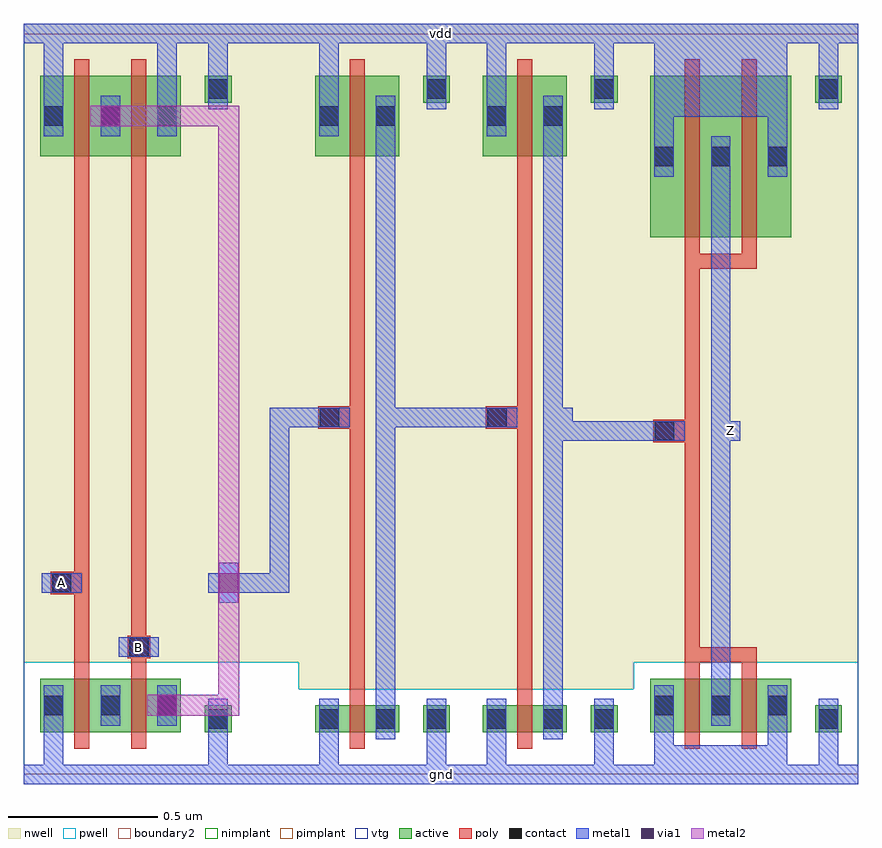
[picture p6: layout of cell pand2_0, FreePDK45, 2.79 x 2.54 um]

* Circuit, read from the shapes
.subckt pand2_0 A B Z gnd vdd
M1 pnand2_1_0/nmos_m1_w0_180_a_p_2/D A gnd gnd nfet w=0.18u l=0.05u
M2 pdriver_1_1/A B pnand2_1_0/nmos_m1_w0_180_a_p_2/D gnd nfet w=0.18u l=0.05u
M3 pdriver_1_1/pinv_5_1/A pdriver_1_1/A gnd gnd nfet w=0.09u l=0.05u
M4 pdriver_1_1/pinv_7_2/A pdriver_1_1/pinv_5_1/A gnd gnd nfet w=0.09u l=0.05u
M5 Z pdriver_1_1/pinv_7_2/A gnd gnd nfet w=0.18u l=0.05u m=2
M6 pdriver_1_1/A A vdd vdd pfet w=0.27u l=0.05u
M7 vdd B pdriver_1_1/A vdd pfet w=0.27u l=0.05u
M8 pdriver_1_1/pinv_5_1/A pdriver_1_1/A vdd vdd pfet w=0.27u l=0.05u
M9 pdriver_1_1/pinv_7_2/A pdriver_1_1/pinv_5_1/A vdd vdd pfet w=0.27u l=0.05u
M10 Z pdriver_1_1/pinv_7_2/A vdd vdd pfet w=0.54u l=0.05u m=2
.ends

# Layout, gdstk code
import gdstk
lib = gdstk.Library(unit=1e-6, precision=5e-10)
def R(c, l, rs):  # rectangles x0, y0, x1, y1
    for r in rs: c.add(gdstk.rectangle(r[:2], r[2:], *l))
active = (1, 0)
pwell = (2, 0)
nwell = (3, 0)
nimplant = (4, 0)
pimplant = (5, 0)
vtg = (6, 0)
poly = (9, 0)
contact = (10, 0)
metal1 = (11, 0)
via1 = (12, 0)
metal2 = (13, 0)
boundary2 = (239, 0)

contact_9 = lib.new_cell('contact_9')
R(contact_9, active, [(0,0.0225,0.09,0.1125)])
R(contact_9, nwell, [(-0.055,-0.0325,0.145,0.1675)])
R(contact_9, pimplant, [(0,0.0225,0.09,0.1125)])
R(contact_9, contact, [(0.0125,0.035,0.0775,0.1)])
R(contact_9, metal1, [(0.0125,0,0.0775,0.135)])

pmos_m1_w0_270_a_p = lib.new_cell('pmos_m1_w0_270_a_p')
R(pmos_m1_w0_270_a_p, active, [(0,0,0.28,0.27)])
R(pmos_m1_w0_270_a_p, nwell, [(-0.055,-0.055,0.335,0.325)])
R(pmos_m1_w0_270_a_p, pimplant, [(0,0,0.28,0.27)])
R(pmos_m1_w0_270_a_p, vtg, [(-0.055,-0.055,0.335,0.325)])
R(pmos_m1_w0_270_a_p, poly, [(0.115,-0.055,0.165,0.325), (0.115,-0.055,0.165,0.325)])
R(pmos_m1_w0_270_a_p, metal1, [(0.0125,0.0675,0.0775,0.2025), (0.2025,0.0675,0.2675,0.2025)])
pmos_m1_w0_270_a_p.add(gdstk.Reference(contact_9, (0,0.0675)))
pmos_m1_w0_270_a_p.add(gdstk.Reference(contact_9, (0.19,0.0675)))
pmos_m1_w0_270_a_p.add(gdstk.Label('G', (0.14,0.135), layer=9, texttype=0))
pmos_m1_w0_270_a_p.add(gdstk.Label('S', (0.045,0.135), layer=11, texttype=0))
pmos_m1_w0_270_a_p.add(gdstk.Label('D', (0.235,0.135), layer=11, texttype=0))

contact_14 = lib.new_cell('contact_14')
R(contact_14, active, [(0,0.0225,0.09,0.1125)])
R(contact_14, pwell, [(-0.055,-0.0325,0.145,0.1675)])
R(contact_14, nimplant, [(0,0.0225,0.09,0.1125)])
R(contact_14, contact, [(0.0125,0.035,0.0775,0.1)])
R(contact_14, metal1, [(0.0125,0,0.0775,0.135)])

nmos_m1_w0_180_a_p = lib.new_cell('nmos_m1_w0_180_a_p')
R(nmos_m1_w0_180_a_p, active, [(0,0,0.28,0.18)])
R(nmos_m1_w0_180_a_p, pwell, [(-0.055,-0.055,0.335,0.235)])
R(nmos_m1_w0_180_a_p, nimplant, [(0,0,0.28,0.18)])
R(nmos_m1_w0_180_a_p, vtg, [(-0.055,-0.055,0.335,0.235)])
R(nmos_m1_w0_180_a_p, poly, [(0.115,-0.055,0.165,0.235), (0.115,-0.055,0.165,0.235)])
R(nmos_m1_w0_180_a_p, metal1, [(0.0125,0.0225,0.0775,0.1575), (0.2025,0.0225,0.2675,0.1575)])
nmos_m1_w0_180_a_p.add(gdstk.Reference(contact_14, (0,0.0225)))
nmos_m1_w0_180_a_p.add(gdstk.Reference(contact_14, (0.19,0.0225)))
nmos_m1_w0_180_a_p.add(gdstk.Label('G', (0.14,0.09), layer=9, texttype=0))
nmos_m1_w0_180_a_p.add(gdstk.Label('S', (0.045,0.09), layer=11, texttype=0))
nmos_m1_w0_180_a_p.add(gdstk.Label('D', (0.235,0.09), layer=11, texttype=0))

contact_18 = lib.new_cell('contact_18')
R(contact_18, active, [(0,0.0225,0.09,0.1125)])
R(contact_18, nwell, [(-0.055,-0.0325,0.145,0.1675)])
R(contact_18, nimplant, [(0,0.0225,0.09,0.1125)])
R(contact_18, contact, [(0.0125,0.035,0.0775,0.1)])
R(contact_18, metal1, [(0.0125,0,0.0775,0.135)])

contact_19 = lib.new_cell('contact_19')
R(contact_19, active, [(0,0.0225,0.09,0.1125)])
R(contact_19, pwell, [(-0.055,-0.0325,0.145,0.1675)])
R(contact_19, pimplant, [(0,0.0225,0.09,0.1125)])
R(contact_19, contact, [(0.0125,0.035,0.0775,0.1)])
R(contact_19, metal1, [(0.0125,0,0.0775,0.135)])

contact_10 = lib.new_cell('contact_10')
R(contact_10, poly, [(0.03,0,0.105,0.075)])
R(contact_10, contact, [(0.035,0.005,0.1,0.07)])
R(contact_10, metal1, [(0,0.005,0.135,0.07)])

contact_20 = lib.new_cell('contact_20')
R(contact_20, metal1, [(0.035,0,0.1,0.135)])
R(contact_20, via1, [(0.035,0.035,0.1,0.1)])
R(contact_20, metal2, [(0,0.0325,0.135,0.1025)])

contact_16 = lib.new_cell('contact_16')
R(contact_16, metal1, [(0,0.035,0.135,0.1)])
R(contact_16, via1, [(0.035,0.035,0.1,0.1)])
R(contact_16, metal2, [(0.0325,0,0.1025,0.135)])

pnand2_1 = lib.new_cell('pnand2_1')
R(pnand2_1, pwell, [(0,-0.0325,0.92,0.375)])
R(pnand2_1, nwell, [(0,0.375,0.92,2.5075)])
R(pnand2_1, vtg, [(0,-0.0325,0.92,0.375), (0,0.375,0.92,2.5075)])
R(pnand2_1, poly, [(0.17,0.085,0.22,2.01), (0.36,0.085,0.41,2.01), (0.36,0.3875,0.385,0.4625), (0.1275,0.6025,0.17,0.6775)])
R(pnand2_1, metal1, [(0,-0.0325,0.92,0.0325), (0.0675,-0.0325,0.1325,0.1625), (0.6175,0,0.6825,0.185), (0.3175,0.3925,0.4525,0.4575), (0.6525,0.5725,0.7175,0.7075), (0.06,0.6075,0.195,0.6725), (0.0675,2.1325,0.1325,2.5075), (0.4475,2.1325,0.5125,2.5075), (0.6175,2.29,0.6825,2.475), (0,2.4425,0.92,2.5075)])
R(pnand2_1, metal2, [(0.48,0.195,0.685,0.265), (0.65,0.195,0.72,0.265), (0.65,0.23,0.72,0.64), (0.65,0.64,0.72,2.2), (0.29,2.165,0.685,2.235), (0.65,2.165,0.72,2.235)])
R(pnand2_1, boundary2, [(0,0,0.92,2.475)])
pnand2_1.add(gdstk.Reference(pmos_m1_w0_270_a_p, (0.055,2.065)))
pnand2_1.add(gdstk.Reference(pmos_m1_w0_270_a_p, (0.245,2.065)))
pnand2_1.add(gdstk.Reference(nmos_m1_w0_180_a_p, (0.055,0.14)))
pnand2_1.add(gdstk.Reference(nmos_m1_w0_180_a_p, (0.245,0.14)))
pnand2_1.add(gdstk.Reference(contact_18, (0.605,2.2225)))
pnand2_1.add(gdstk.Reference(contact_19, (0.605,0.1175)))
pnand2_1.add(gdstk.Reference(contact_10, (0.3175,0.3875)))
pnand2_1.add(gdstk.Reference(contact_10, (0.06,0.6025)))
pnand2_1.add(gdstk.Reference(contact_20, (0.2225,2.1325)))
pnand2_1.add(gdstk.Reference(contact_20, (0.4125,0.1625)))
pnand2_1.add(gdstk.Reference(contact_16, (0.6175,0.5725)))
pnand2_1.add(gdstk.Label('gnd', (0.46,0), layer=11, texttype=0))
pnand2_1.add(gdstk.Label('vdd', (0.46,2.475), layer=11, texttype=0))
pnand2_1.add(gdstk.Label('B', (0.385,0.425), layer=11, texttype=0))
pnand2_1.add(gdstk.Label('A', (0.1275,0.64), layer=11, texttype=0))
pnand2_1.add(gdstk.Label('Z', (0.685,0.64), layer=11, texttype=0))

nmos_m1_w0_090_a_p = lib.new_cell('nmos_m1_w0_090_a_p')
R(nmos_m1_w0_090_a_p, active, [(0,0,0.28,0.09)])
R(nmos_m1_w0_090_a_p, pwell, [(-0.055,-0.055,0.335,0.145)])
R(nmos_m1_w0_090_a_p, nimplant, [(0,0,0.28,0.09)])
R(nmos_m1_w0_090_a_p, vtg, [(-0.055,-0.055,0.335,0.145)])
R(nmos_m1_w0_090_a_p, poly, [(0.115,-0.055,0.165,0.145), (0.115,-0.055,0.165,0.145)])
R(nmos_m1_w0_090_a_p, metal1, [(0.0125,-0.0225,0.0775,0.1125), (0.2025,-0.0225,0.2675,0.1125)])
nmos_m1_w0_090_a_p.add(gdstk.Reference(contact_14, (0,-0.0225)))
nmos_m1_w0_090_a_p.add(gdstk.Reference(contact_14, (0.19,-0.0225)))
nmos_m1_w0_090_a_p.add(gdstk.Label('G', (0.14,0.045), layer=9, texttype=0))
nmos_m1_w0_090_a_p.add(gdstk.Label('S', (0.045,0.045), layer=11, texttype=0))
nmos_m1_w0_090_a_p.add(gdstk.Label('D', (0.235,0.045), layer=11, texttype=0))

pinv_5 = lib.new_cell('pinv_5')
R(pinv_5, pwell, [(0,-0.0325,0.56,0.285)])
R(pinv_5, nwell, [(0,0.285,0.56,2.5075)])
R(pinv_5, vtg, [(0,-0.0325,0.56,0.285), (0,0.285,0.56,2.5075)])
R(pinv_5, poly, [(0.17,0.085,0.22,2.01), (0.1025,1.155,0.17,1.23)])
R(pinv_5, metal1, [(0,-0.0325,0.56,0.0325), (0.0675,-0.0325,0.1325,0.1175), (0.4275,0,0.4925,0.185), (0.2575,0.1175,0.3225,2.2675), (0.035,1.16,0.17,1.225), (0.29,1.16,0.355,1.225), (0.0675,2.1325,0.1325,2.5075), (0.4275,2.29,0.4925,2.475), (0,2.4425,0.56,2.5075)])
R(pinv_5, boundary2, [(0,0,0.56,2.475)])
pinv_5.add(gdstk.Reference(pmos_m1_w0_270_a_p, (0.055,2.065)))
pinv_5.add(gdstk.Reference(nmos_m1_w0_090_a_p, (0.055,0.14)))
pinv_5.add(gdstk.Reference(contact_18, (0.415,2.2225)))
pinv_5.add(gdstk.Reference(contact_19, (0.415,0.1175)))
pinv_5.add(gdstk.Reference(contact_10, (0.035,1.155)))
pinv_5.add(gdstk.Label('gnd', (0.28,0), layer=11, texttype=0))
pinv_5.add(gdstk.Label('vdd', (0.28,2.475), layer=11, texttype=0))
pinv_5.add(gdstk.Label('A', (0.1025,1.1925), layer=11, texttype=0))
pinv_5.add(gdstk.Label('Z', (0.3225,1.1925), layer=11, texttype=0))

pmos_m2_w0_540_a_p = lib.new_cell('pmos_m2_w0_540_a_p')
R(pmos_m2_w0_540_a_p, active, [(0,0,0.47,0.54)])
R(pmos_m2_w0_540_a_p, nwell, [(-0.055,-0.055,0.525,0.595)])
R(pmos_m2_w0_540_a_p, pimplant, [(0,0,0.47,0.54)])
R(pmos_m2_w0_540_a_p, vtg, [(-0.055,-0.055,0.525,0.595)])
R(pmos_m2_w0_540_a_p, poly, [(0.115,-0.105,0.355,-0.055), (0.115,-0.055,0.165,0.595), (0.305,-0.055,0.355,0.595)])
R(pmos_m2_w0_540_a_p, metal1, [(0.2025,0.2025,0.2675,0.3375), (0.0125,0.27,0.0775,0.435), (0.3925,0.27,0.4575,0.435), (0.0125,0.4025,0.4575,0.4675)])
pmos_m2_w0_540_a_p.add(gdstk.Reference(contact_9, (0,0.2025)))
pmos_m2_w0_540_a_p.add(gdstk.Reference(contact_9, (0.38,0.2025)))
pmos_m2_w0_540_a_p.add(gdstk.Reference(contact_9, (0.19,0.2025)))
pmos_m2_w0_540_a_p.add(gdstk.Label('G', (0.235,-0.08), layer=9, texttype=0))
pmos_m2_w0_540_a_p.add(gdstk.Label('S', (0.235,0.435), layer=11, texttype=0))
pmos_m2_w0_540_a_p.add(gdstk.Label('D', (0.235,0.27), layer=11, texttype=0))

nmos_m2_w0_180_a_p = lib.new_cell('nmos_m2_w0_180_a_p')
R(nmos_m2_w0_180_a_p, active, [(0,0,0.47,0.18)])
R(nmos_m2_w0_180_a_p, pwell, [(-0.055,-0.055,0.525,0.235)])
R(nmos_m2_w0_180_a_p, nimplant, [(0,0,0.47,0.18)])
R(nmos_m2_w0_180_a_p, vtg, [(-0.055,-0.055,0.525,0.235)])
R(nmos_m2_w0_180_a_p, poly, [(0.115,-0.055,0.165,0.235), (0.305,-0.055,0.355,0.235), (0.115,0.235,0.355,0.285)])
R(nmos_m2_w0_180_a_p, metal1, [(0.0125,-0.1075,0.4575,-0.0425), (0.0125,-0.075,0.0775,0.09), (0.3925,-0.075,0.4575,0.09), (0.2025,0.0225,0.2675,0.1575)])
nmos_m2_w0_180_a_p.add(gdstk.Reference(contact_14, (0,0.0225)))
nmos_m2_w0_180_a_p.add(gdstk.Reference(contact_14, (0.38,0.0225)))
nmos_m2_w0_180_a_p.add(gdstk.Reference(contact_14, (0.19,0.0225)))
nmos_m2_w0_180_a_p.add(gdstk.Label('G', (0.235,0.26), layer=9, texttype=0))
nmos_m2_w0_180_a_p.add(gdstk.Label('S', (0.235,-0.075), layer=11, texttype=0))
nmos_m2_w0_180_a_p.add(gdstk.Label('D', (0.235,0.09), layer=11, texttype=0))

pinv_7 = lib.new_cell('pinv_7')
R(pinv_7, pwell, [(0,-0.0325,0.75,0.375)])
R(pinv_7, nwell, [(0,0.375,0.75,2.5075)])
R(pinv_7, vtg, [(0,-0.0325,0.75,0.375), (0,0.375,0.75,2.5075)])
R(pinv_7, poly, [(0.17,0.375,0.22,1.69), (0.1025,1.11,0.17,1.185)])
R(pinv_7, metal1, [(0,-0.0325,0.75,0.0325), (0.0675,-0.0325,0.5125,0.0325), (0.6175,0,0.6825,0.185), (0.2575,0.1625,0.3225,2.1325), (0.035,1.115,0.17,1.18), (0.29,1.115,0.355,1.18), (0.0675,2.1975,0.5125,2.5075), (0.6175,2.29,0.6825,2.475), (0,2.4425,0.75,2.5075)])
R(pinv_7, boundary2, [(0,0,0.75,2.475)])
pinv_7.add(gdstk.Reference(pmos_m2_w0_540_a_p, (0.055,1.795)))
pinv_7.add(gdstk.Reference(nmos_m2_w0_180_a_p, (0.055,0.14)))
pinv_7.add(gdstk.Reference(contact_18, (0.605,2.2225)))
pinv_7.add(gdstk.Reference(contact_19, (0.605,0.1175)))
pinv_7.add(gdstk.Reference(contact_10, (0.035,1.11)))
pinv_7.add(gdstk.Label('gnd', (0.375,0), layer=11, texttype=0))
pinv_7.add(gdstk.Label('vdd', (0.375,2.475), layer=11, texttype=0))
pinv_7.add(gdstk.Label('A', (0.1025,1.1475), layer=11, texttype=0))
pinv_7.add(gdstk.Label('Z', (0.3225,1.1475), layer=11, texttype=0))

pdriver_1 = lib.new_cell('pdriver_1')
R(pdriver_1, metal1, [(0,-0.0325,0.065,0.0325), (0.85,1.115,0.915,1.18), (0.8825,1.115,1.2225,1.18), (1.41,1.115,1.475,1.18), (0.85,1.1475,0.915,1.1925), (0.035,1.16,0.17,1.225), (0.3225,1.16,0.6625,1.225), (0,2.4425,0.065,2.5075)])
R(pdriver_1, boundary2, [(0,0,1.87,2.475)])
pdriver_1.add(gdstk.Reference(pinv_5, (0,0)))
pdriver_1.add(gdstk.Reference(pinv_5, (0.56,0)))
pdriver_1.add(gdstk.Reference(pinv_7, (1.12,0)))
pdriver_1.add(gdstk.Label('vdd', (0.0325,2.475), layer=11, texttype=0))
pdriver_1.add(gdstk.Label('gnd', (0.0325,0), layer=11, texttype=0))
pdriver_1.add(gdstk.Label('Z', (1.4425,1.1475), layer=11, texttype=0))
pdriver_1.add(gdstk.Label('A', (0.1025,1.1925), layer=11, texttype=0))

pand2_0 = lib.new_cell('pand2_0')
R(pand2_0, metal1, [(0,-0.0325,2.79,0.0325), (0.3175,0.3925,0.4525,0.4575), (0.06,0.6075,0.195,0.6725), (0.685,0.6075,0.855,0.6725), (0.8225,0.6075,0.8875,0.6725), (0.8225,0.64,0.8875,1.1925), (2.33,1.115,2.395,1.18), (0.8225,1.16,0.8875,1.225), (0.855,1.16,1.0225,1.225), (0,2.4425,2.79,2.5075)])
R(pand2_0, boundary2, [(0,0,2.79,2.475)])
pand2_0.add(gdstk.Reference(pnand2_1, (0,0)))
pand2_0.add(gdstk.Reference(pdriver_1, (0.92,0)))
pand2_0.add(gdstk.Label('vdd', (1.395,2.475), layer=11, texttype=0))
pand2_0.add(gdstk.Label('gnd', (1.395,0), layer=11, texttype=0))
pand2_0.add(gdstk.Label('Z', (2.3625,1.1475), layer=11, texttype=0))
pand2_0.add(gdstk.Label('A', (0.1275,0.64), layer=11, texttype=0))
pand2_0.add(gdstk.Label('B', (0.385,0.425), layer=11, texttype=0))

lib.write_gds('pand2_0.gds')
